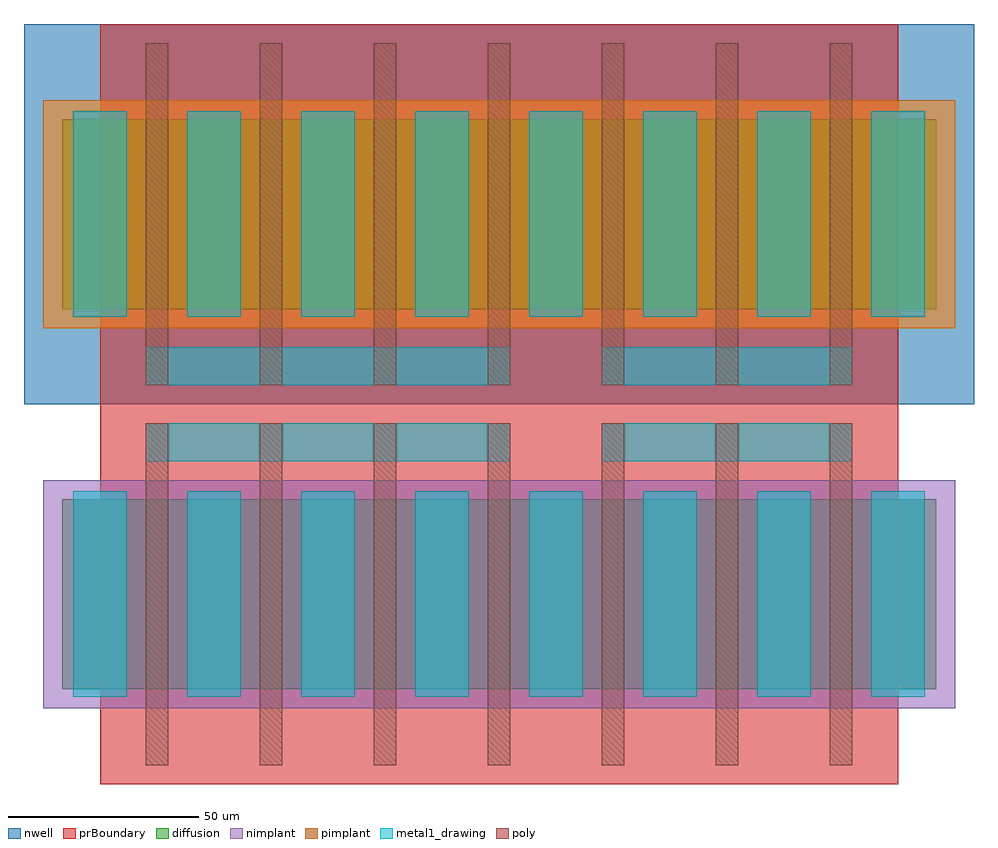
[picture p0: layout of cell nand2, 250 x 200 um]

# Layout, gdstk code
import gdstk
lib = gdstk.Library(unit=1e-6, precision=1e-09)
def R(c, l, rs):  # rectangles x0, y0, x1, y1
    for r in rs: c.add(gdstk.rectangle(r[:2], r[2:], *l))
def A(c, l, x, y, w, h, nx, ny, dx, dy):  # array of equal rectangles
    R(c, l, [(x+i*dx, y+j*dy, x+i*dx+w, y+j*dy+h) for i in range(nx) for j in range(ny)])
diffusion = (10, 0)
nwell = (11, 0)
poly = (12, 0)
pimplant = (13, 0)
nimplant = (14, 0)
metal1_drawing = (50, 0)
prBoundary = (101, 0)

nand2 = lib.new_cell('nand2')
A(nand2, diffusion, -10, 25, 50, 50, 7, 2, 30, 100)
A(nand2, nwell, -20, 100, 70, 100, 7, 1, 30, 0)
A(nand2, poly, 12, 5, 6, 90, 7, 2, 30, 100)
A(nand2, pimplant, -15, 120, 60, 60, 7, 1, 30, 0)
A(nand2, nimplant, -15, 20, 60, 60, 7, 1, 30, 0)
A(nand2, metal1_drawing, 12, 85, 36, 10, 3, 2, 30, 20)
R(nand2, metal1_drawing, [(-7,23,7,77), (23,23,37,77), (23,23,37,77), (53,23,67,77), (53,23,67,77), (83,23,97,77), (83,23,97,77), (113,23,127,77), (113,23,127,77), (143,23,157,77), (143,23,157,77), (173,23,187,77), (173,23,187,77), (203,23,217,77), (132,85,168,95), (162,85,198,95), (132,105,168,115), (162,105,198,115), (-7,123,7,177), (23,123,37,177), (23,123,37,177), (53,123,67,177), (53,123,67,177), (83,123,97,177), (83,123,97,177), (113,123,127,177), (113,123,127,177), (143,123,157,177), (143,123,157,177), (173,123,187,177), (173,123,187,177), (203,123,217,177)])
A(nand2, prBoundary, 0, 0, 30, 100, 7, 2, 30, 100)

lib.write_gds('nand2.gds')
